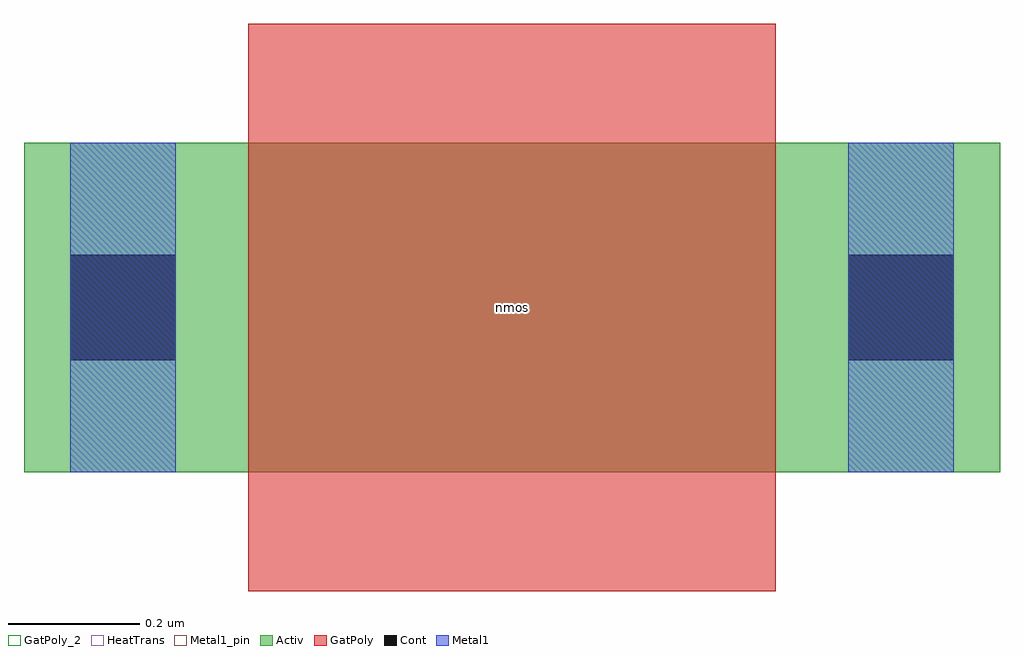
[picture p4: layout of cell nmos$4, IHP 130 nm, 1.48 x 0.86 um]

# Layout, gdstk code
import gdstk
lib = gdstk.Library(unit=1e-6, precision=1e-09)
def R(c, l, rs):  # rectangles x0, y0, x1, y1
    for r in rs: c.add(gdstk.rectangle(r[:2], r[2:], *l))
Activ = (1, 0)
GatPoly = (5, 0)
GatPoly_2 = (5, 2)
Cont = (6, 0)
Metal1 = (8, 0)
Metal1_pin = (8, 2)
HeatTrans = (51, 0)

nmos_4 = lib.new_cell('nmos$4')
R(nmos_4, Activ, [(0,0,0.3,0.3), (0,0,1.48,0.5), (1.18,0,1.48,0.3)])
R(nmos_4, GatPoly, [(0.34,-0.18,1.14,0.68)])
R(nmos_4, GatPoly_2, [(0.34,-0.18,1.14,0.68)])
R(nmos_4, Cont, [(0.07,0.17,0.23,0.33), (1.25,0.17,1.41,0.33)])
R(nmos_4, Metal1, [(0.07,0,0.23,0.5), (1.25,0,1.41,0.5)])
R(nmos_4, Metal1_pin, [(0.07,0,0.23,0.5), (1.25,0,1.41,0.5)])
R(nmos_4, HeatTrans, [(0.34,-0.18,1.14,0.68)])
nmos_4.add(gdstk.Label('nmos', (0.74,0.25), layer=63, texttype=0))
nmos_4.add(gdstk.Label('nmos', (0.74,0.25), layer=51, texttype=0))

lib.write_gds('nmos_4.gds')
